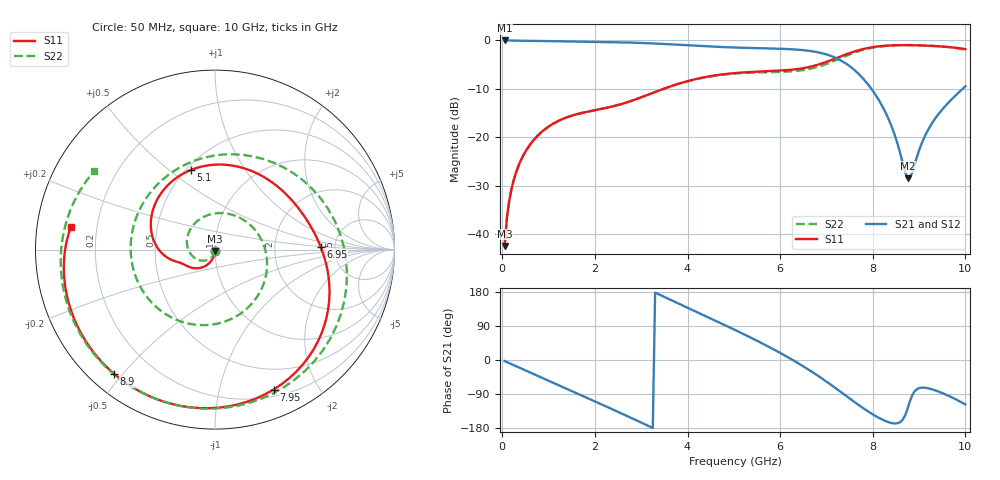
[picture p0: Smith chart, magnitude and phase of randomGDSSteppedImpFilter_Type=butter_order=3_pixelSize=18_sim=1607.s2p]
! freq	dB(S11)	phase(S11)	dB(S12)	phase(S12)
!  dB(S21)	phase(S21)	dB(S22)	phase(S22)
!S-par simulation data
#  GHz  S  DB  R 50
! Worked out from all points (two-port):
!   200 points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, 50 MHz to 10 GHz, reference 50 ohm
!   highest |S21| = -0.01 dB at 50 MHz (marker M1); lowest = -28.5 dB at 8.75 GHz (marker M2)
!   |S21| within 3 dB of the highest: start of sweep to 7.038 GHz
!   lowest |S11| = -42.4 dB at 50 MHz (marker M3), VSWR 1.02, Z = 50 - j0.754 ohm
!   |S11| at or under -10 dB: start of sweep to 3.479 GHz
!   |S22| runs from -42.5 to -1.0 dB; largest |S21 - S12| = 0
!   S11 on the Smith chart (normalised r, x): 50 MHz: 1.00, -0.02; 5.1 GHz: 0.53, +0.60; 6.95 GHz: 3.86, +0.18; 7.95 GHz: 0.27, -1.47; 8.9 GHz: 0.07, -0.47; 10 GHz: 0.10, +0.08
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0.05  -42.45 -90.1  -0.01 -2.8  -0.01 -2.8  -42.47 -91.8
0.1  -36.55 -92.8  -0.01 -5.6  -0.01 -5.6  -36.58 -96.0
0.2  -30.62 -97.5  -0.02 -11.0  -0.02 -11.0  -30.65 -103.8
0.5  -22.94 -109.9  -0.06 -27.5  -0.06 -27.5  -22.98 -125.7
1.15  -16.91 -133.2  -0.17 -62.8  -0.17 -62.8  -16.93 -173.9
1.75  -14.90 -149.4  -0.26 -95.4  -0.26 -95.4  -14.90 136.9
2.65  -12.91 -162.8  -0.41 -145.3  -0.41 -145.3  -12.92 50.9
3.4  -10.28 -178.3  -0.68 172.2  -0.68 172.2  -10.30 -18.3
4.25  -7.82 149.3  -1.13 123.9  -1.13 123.9  -7.87 -81.9
5.05  -6.72 109.4  -1.47 77.9  -1.47 77.9  -6.81 -133.5
5.1  -6.68 106.7  -1.49 74.9  -1.49 74.9  -6.78 -136.7
6  -6.24 55.6  -1.72 18.8  -1.72 18.8  -6.50 161.5
6.7  -5.31 15.9  -2.25 -32.2  -2.25 -32.2  -5.74 96.4
6.95  -4.60 1.5  -2.75 -52.7  -2.75 -52.7  -5.03 68.0
7.2  -3.70 -14.0  -3.60 -74.5  -3.60 -74.5  -4.09 37.9
7.5  -2.61 -34.5  -5.30 -101.5  -5.30 -101.5  -2.89 1.6
7.95  -1.46 -67.3  -9.73 -139.7  -9.73 -139.7  -1.59 -48.4
8.35  -1.04 -95.1  -16.43 -164.5  -16.43 -164.5  -1.08 -86.0
8.75  -0.97 -120.3  -28.48 -128.9  -28.48 -128.9  -0.96 -118.0
8.9  -0.99 -129.2  -25.74 -83.2  -25.74 -83.2  -0.97 -129.0
9.5  -1.26 -162.4  -14.26 -87.2  -14.26 -87.2  -1.25 -171.9
10  -1.80 171.2  -9.47 -117.4  -9.47 -117.4  -1.91 146.9
